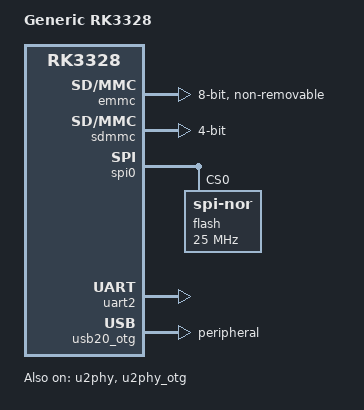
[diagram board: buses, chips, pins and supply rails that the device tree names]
// SPDX-License-Identifier: (GPL-2.0+ OR MIT)
/*
 * Minimal generic DT for RK3328 with eMMC, SD-card, SPI flash and USB OTG enabled
 */

/dts-v1/;
#include "rk3328.dtsi"

/ {
	model = "Generic RK3328";
	compatible = "rockchip,rk3328";

	aliases {
		mmc0 = &emmc;
		mmc1 = &sdmmc;
	};

	chosen {
		stdout-path = "serial2:1500000n8";
	};
};

&emmc {
	bus-width = <8>;
	cap-mmc-highspeed;
	mmc-ddr-1_8v;
	mmc-hs200-1_8v;
	no-sd;
	no-sdio;
	non-removable;
	pinctrl-names = "default";
	pinctrl-0 = <&emmc_clk &emmc_cmd &emmc_bus8>;
	status = "okay";
};

&sdmmc0m1_pin {
	rockchip,pins = <0 RK_PD6 RK_FUNC_GPIO &pcfg_pull_down_4ma>;
};

&sdmmc {
	bus-width = <4>;
	cap-sd-highspeed;
	disable-wp;
	no-mmc;
	no-sdio;
	pinctrl-names = "default";
	pinctrl-0 = <&sdmmc0_clk &sdmmc0_cmd &sdmmc0_dectn &sdmmc0_bus4 &sdmmc0m1_pin>;
	status = "okay";
};

&spi0 {
	status = "okay";

	flash@0 {
		compatible = "jedec,spi-nor";
		reg = <0>;
		spi-max-frequency = <25000000>;
	};
};

&u2phy {
	status = "okay";
};

&u2phy_otg {
	status = "okay";
};

&uart2 {
	status = "okay";
};

&usb20_otg {
	dr_mode = "peripheral";
	status = "okay";
};
